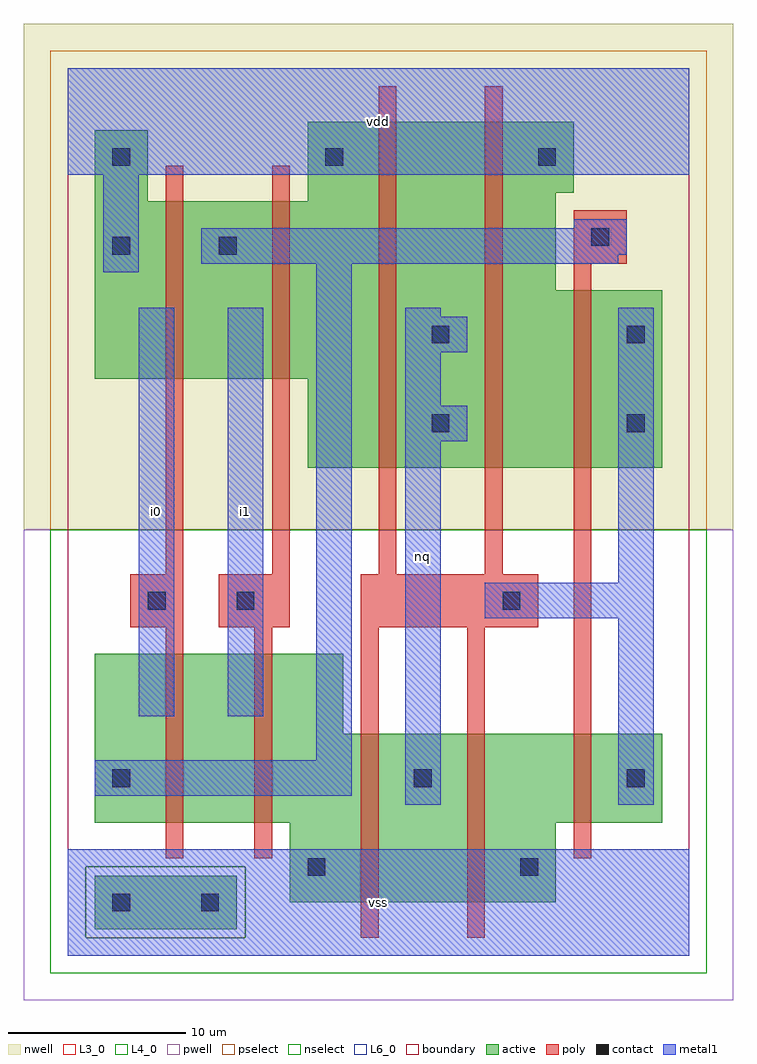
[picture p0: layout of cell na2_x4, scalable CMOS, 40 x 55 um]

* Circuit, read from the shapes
.subckt na2_x4 i0 i1 nq vdd vss
M1 n1 i0 n2 vss nfet w=9.5u l=1u
M2 vss i1 n1 vss nfet w=9.5u l=1u
M3 nq n3 vss vss nfet w=9.5u l=1u m=2
M4 n3 n2 vss vss nfet w=5u l=1u
M5 n2 i0 vdd n4 pfet w=10u l=1u
M6 vdd i1 n2 n4 pfet w=10u l=1u
M7 nq n3 vdd n4 pfet w=19.5u l=1u m=2
M8 n3 n2 vdd n4 pfet w=10u l=1u
.ends

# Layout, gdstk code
import gdstk
lib = gdstk.Library(unit=1e-6, precision=1e-09)
def R(c, l, rs):  # rectangles x0, y0, x1, y1
    for r in rs: c.add(gdstk.rectangle(r[:2], r[2:], *l))
def A(c, l, x, y, w, h, nx, ny, dx, dy):  # array of equal rectangles
    R(c, l, [(x+i*dx, y+j*dy, x+i*dx+w, y+j*dy+h) for i in range(nx) for j in range(ny)])
L3_0 = (3, 0)
L4_0 = (4, 0)
L6_0 = (6, 0)
contact = (25, 0)
pwell = (41, 0)
nwell = (42, 0)
active = (43, 0)
pselect = (44, 0)
nselect = (45, 0)
poly = (46, 0)
metal1 = (49, 0)
boundary = (63, 0)

na2_x4 = lib.new_cell('na2_x4')
R(na2_x4, L3_0, [(12.5,3,27.5,7.5), (1.5,7.5,33.5,12.5), (1.5,12.5,15.5,17)])
R(na2_x4, L4_0, [(13.5,27.5,33.5,32.5), (1.5,32.5,33.5,37.5), (1.5,37.5,27.5,42.5), (1.5,42.5,4.5,46.5), (13.5,42.5,27.5,43), (13.5,43,28.5,47)])
R(na2_x4, L6_0, [(1.5,1.5,9.5,4.5)])
A(na2_x4, contact, 2.5, 44.5, 1, 1, 3, 1, 12, 0)
R(na2_x4, contact, [(2.5,2.5,3.5,3.5), (7.5,2.5,8.5,3.5), (13.5,4.5,14.5,5.5), (25.5,4.5,26.5,5.5), (2.5,9.5,3.5,10.5), (19.5,9.5,20.5,10.5), (31.5,9.5,32.5,10.5), (4.5,19.5,5.5,20.5), (9.5,19.5,10.5,20.5), (24.5,19.5,25.5,20.5), (20.5,29.5,21.5,30.5), (31.5,29.5,32.5,30.5), (20.5,34.5,21.5,35.5), (31.5,34.5,32.5,35.5), (2.5,39.5,3.5,40.5), (8.5,39.5,9.5,40.5), (29.5,40,30.5,41)])
R(na2_x4, pwell, [(-2.5,-2.5,37.5,24)])
R(na2_x4, nwell, [(-2.5,24,37.5,52.5)])
R(na2_x4, active, [(1.5,1.5,9.5,4.5), (12.5,3,27.5,7.5), (1.5,7.5,33.5,12.5), (1.5,12.5,15.5,17), (13.5,27.5,33.5,32.5), (1.5,32.5,33.5,37.5), (1.5,37.5,27.5,42.5), (1.5,42.5,4.5,46.5), (13.5,42.5,27.5,43), (13.5,43,28.5,47)])
R(na2_x4, pselect, [(1,1,10,5), (-1,24,36,51)])
R(na2_x4, nselect, [(-1,-1,36,1), (-1,1,1,5), (10,1,36,5), (-1,5,36,24)])
R(na2_x4, poly, [(16.5,1,17.5,18.5), (22.5,1,23.5,18.5), (5.5,5.5,6.5,18.5), (10.5,5.5,11.5,18.5), (28.5,5.5,29.5,39), (3.5,18.5,6.5,21.5), (8.5,18.5,12.5,21.5), (16.5,18.5,26.5,21.5), (5.5,21.5,6.5,44.5), (11.5,21.5,12.5,44.5), (17.5,21.5,18.5,49), (23.5,21.5,24.5,49), (28.5,39,31.5,42)])
R(na2_x4, metal1, [(0,0,35,6), (0,0,35,6), (19,8.5,21,29), (19,8.5,21,29), (31,8.5,33,19), (31,8.5,33,19), (1.5,9,16,11), (1.5,9,16,11), (14,11,16,39), (14,11,16,39), (4,13.5,6,36.5), (4,13.5,6,36.5), (9,13.5,11,36.5), (9,13.5,11,36.5), (23.5,19,33,21), (23.5,19,33,21), (31,21,33,36.5), (31,21,33,36.5), (19,29,22.5,31), (19,29,22.5,31), (19,31,21,34), (19,31,21,34), (19,34,22.5,36), (19,34,22.5,36), (19,36,21,36.5), (19,36,21,36.5), (2,38.5,4,44), (2,38.5,4,44), (7.5,39,31,39.5), (7.5,39,31,39.5), (7.5,39.5,31.5,41), (7.5,39.5,31.5,41), (28.5,41,31.5,41.5), (28.5,41,31.5,41.5), (0,44,35,50), (0,44,35,50)])
R(na2_x4, boundary, [(0,0,35,50)])
na2_x4.add(gdstk.Label('i0', (5,25), layer=49, texttype=0))
na2_x4.add(gdstk.Label('i1', (10,25), layer=49, texttype=0))
na2_x4.add(gdstk.Label('vss', (17.5,3), layer=49, texttype=0))
na2_x4.add(gdstk.Label('nq', (20,22.5), layer=49, texttype=0))
na2_x4.add(gdstk.Label('vdd', (17.5,47), layer=49, texttype=0))

lib.write_gds('na2_x4.gds')
